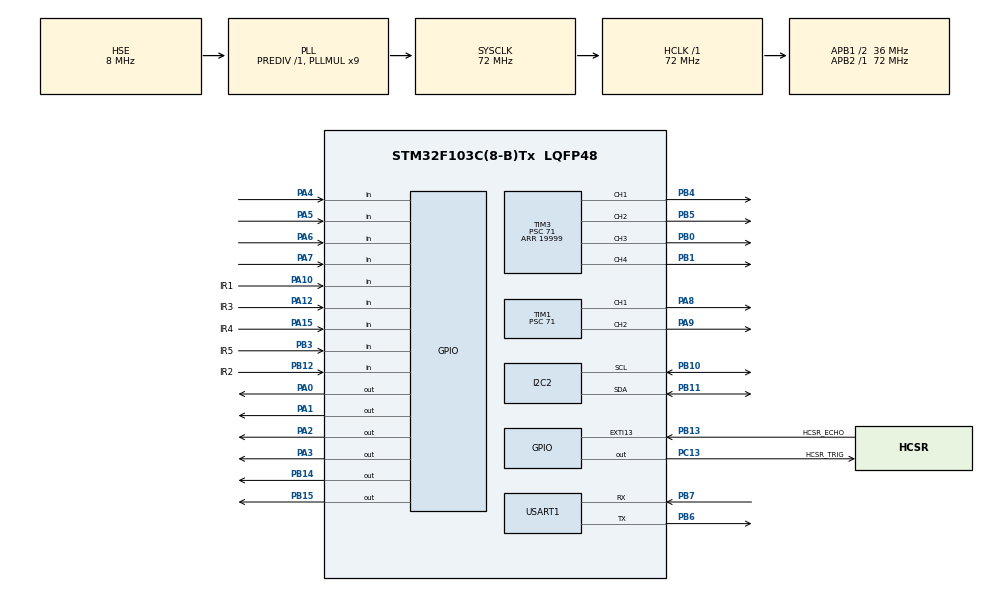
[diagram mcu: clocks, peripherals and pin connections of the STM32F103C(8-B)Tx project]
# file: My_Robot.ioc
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Mcu.Family=STM32F1
Mcu.Name=STM32F103C(8-B)Tx
Mcu.Package=LQFP48
NVIC.EXTI15_10_IRQn=true\:1\:0\:true\:false\:true\:true\:true
NVIC.PriorityGroup=NVIC_PRIORITYGROUP_4
NVIC.USART1_IRQn=true\:1\:0\:true\:false\:true\:true\:true
PA0-WKUP.GPIO_ModeDefaultOutputPP=GPIO_MODE_OUTPUT_PP
PA0-WKUP.GPIO_PuPd=GPIO_NOPULL
PA0-WKUP.GPIO_Speed=GPIO_SPEED_FREQ_HIGH
PA0-WKUP.PinState=GPIO_PIN_SET
PA0-WKUP.Signal=GPIO_Output
PA1.GPIO_Speed=GPIO_SPEED_FREQ_HIGH
PA1.PinState=GPIO_PIN_SET
PA1.Signal=GPIO_Output
PA10.GPIO_Label=IR1
PA10.Signal=GPIO_Input
PA12.GPIO_Label=IR3
PA12.Signal=GPIO_Input
PA13.Mode=Serial_Wire
PA13.Signal=SYS_JTMS-SWDIO
PA14.Mode=Serial_Wire
PA14.Signal=SYS_JTCK-SWCLK
PA15.GPIO_Label=IR4
PA15.Signal=GPIO_Input
PA2.GPIO_ModeDefaultOutputPP=GPIO_MODE_OUTPUT_PP
PA2.GPIO_PuPd=GPIO_NOPULL
PA2.GPIO_Speed=GPIO_SPEED_FREQ_HIGH
PA2.PinState=GPIO_PIN_SET
PA2.Signal=GPIO_Output
PA3.GPIO_ModeDefaultOutputPP=GPIO_MODE_OUTPUT_PP
PA3.GPIO_PuPd=GPIO_NOPULL
PA3.GPIO_Speed=GPIO_SPEED_FREQ_HIGH
PA3.PinState=GPIO_PIN_SET
PA3.Signal=GPIO_Output
PA4.GPIO_Mode=GPIO_MODE_INPUT
PA4.GPIO_PuPd=GPIO_PULLUP
PA4.Signal=GPIO_Input
PA5.GPIO_PuPd=GPIO_PULLUP
PA5.Signal=GPIO_Input
PA6.GPIO_Mode=GPIO_MODE_INPUT
PA6.GPIO_PuPd=GPIO_PULLUP
PA6.Signal=GPIO_Input
PA7.GPIO_Mode=GPIO_MODE_INPUT
PA7.GPIO_PuPd=GPIO_PULLUP
PA7.Signal=GPIO_Input
PA8.Signal=S_TIM1_CH1
PA9.Signal=S_TIM1_CH2
PB0.Signal=S_TIM3_CH3
PB1.Signal=S_TIM3_CH4
PB10.Mode=I2C
PB10.Signal=I2C2_SCL
PB11.Mode=I2C
PB11.Signal=I2C2_SDA
PB12.GPIO_Label=IR2
PB12.Signal=GPIO_Input
PB13.GPIO_Label=HCSR_ECHO
PB13.GPIO_ModeDefaultEXTI=GPIO_MODE_IT_RISING_FALLING
PB13.Signal=GPXTI13
PB14.Signal=GPIO_Output
PB15.Signal=GPIO_Output
PB3.GPIO_Label=IR5
PB3.Signal=GPIO_Input
PB4.Signal=S_TIM3_CH1
PB5.Signal=S_TIM3_CH2
PB6.Mode=Asynchronous
PB6.Signal=USART1_TX
PB7.Mode=Asynchronous
PB7.Signal=USART1_RX
PC13-TAMPER-RTC.GPIO_Label=HCSR_TRIG
PC13-TAMPER-RTC.Signal=GPIO_Output
PD0-OSC_IN.Mode=HSE-External-Oscillator
PD0-OSC_IN.Signal=RCC_OSC_IN
PD1-OSC_OUT.Mode=HSE-External-Oscillator
PD1-OSC_OUT.Signal=RCC_OSC_OUT
ProjectManager.HeapSize=0x200
ProjectManager.StackSize=0x400
ProjectManager.TargetToolchain=MDK-ARM V5.27
RCC.AHBFreq_Value=72000000
RCC.APB1CLKDivider=RCC_HCLK_DIV2
RCC.APB1Freq_Value=36000000
RCC.APB1TimFreq_Value=72000000
RCC.APB2Freq_Value=72000000
RCC.APB2TimFreq_Value=72000000
RCC.HCLKFreq_Value=72000000
RCC.PLLMUL=RCC_PLL_MUL9
RCC.PLLSourceVirtual=RCC_PLLSOURCE_HSE
RCC.SYSCLKFreq_VALUE=72000000
RCC.SYSCLKSource=RCC_SYSCLKSOURCE_PLLCLK
RCC.USBFreq_Value=72000000
SH.S_TIM1_CH1.0=TIM1_CH1,PWM Generation1 CH1
SH.S_TIM1_CH2.0=TIM1_CH2,PWM Generation2 CH2
SH.S_TIM3_CH1.0=TIM3_CH1,PWM Generation1 CH1
SH.S_TIM3_CH2.0=TIM3_CH2,PWM Generation2 CH2
SH.S_TIM3_CH3.0=TIM3_CH3,PWM Generation3 CH3
SH.S_TIM3_CH4.0=TIM3_CH4,PWM Generation4 CH4
TIM1.Channel-PWM\ Generation1\ CH1=TIM_CHANNEL_1
TIM1.Channel-PWM\ Generation2\ CH2=TIM_CHANNEL_2
TIM1.Period=999
TIM1.Prescaler=71
TIM2.Prescaler=71
TIM3.Channel-PWM\ Generation1\ CH1=TIM_CHANNEL_1
TIM3.Channel-PWM\ Generation2\ CH2=TIM_CHANNEL_2
TIM3.Channel-PWM\ Generation3\ CH3=TIM_CHANNEL_3
TIM3.Channel-PWM\ Generation4\ CH4=TIM_CHANNEL_4
TIM3.Period=19999
TIM3.Prescaler=71
USART1.VirtualMode=VM_ASYNC
VP_TIM1_VS_ClockSourceINT.Mode=Internal
VP_TIM2_VS_ClockSourceINT.Mode=Internal
VP_TIM3_VS_ClockSourceINT.Mode=Internal
board=custom

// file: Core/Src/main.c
/* USER CODE BEGIN Header */
/**
  ******************************************************************************
  * @file           : main.c
  * @brief          : Main program body
  ******************************************************************************
  * @attention
  *
  * <h2><center>&copy; Copyright (c) 2023 STMicroelectronics.
  * All rights reserved.</center></h2>
  *
  * This software component is licensed by ST under BSD 3-Clause license,
  * the "License"; You may not use this file except in compliance with the
  * License. You may obtain a copy of the License at:
  *                        opensource.org/licenses/BSD-3-Clause
  *
  ******************************************************************************
  */
/* USER CODE END Header */
#include "main.h"

/* USER CODE BEGIN Includes */
#include <string.h>
#include "keypad.h"
#include "LiquidCrystal_I2C.h"
#include "hcsr04.h"
#include "uart.h"
#include "car_driver.h"
#include "car_remote.h"
#include "ir_sensor.h"
#include "arm_driver.h"
/* USER CODE END Includes */

I2C_HandleTypeDef hi2c2;

TIM_HandleTypeDef htim1;
TIM_HandleTypeDef htim2;
TIM_HandleTypeDef htim3;

UART_HandleTypeDef huart1;

/* USER CODE BEGIN PV */
LiquidCrystal_I2C hlcd1;
/* USER CODE END PV */

void SystemClock_Config(void);
static void MX_GPIO_Init(void);
static void MX_I2C2_Init(void);
static void MX_USART1_UART_Init(void);
static void MX_TIM1_Init(void);
static void MX_TIM2_Init(void);
static void MX_TIM3_Init(void);

/* USER CODE BEGIN 0 */

/*------------------- DECLARE STRUCTURES AND STATE MACHINE -------------------*/
typedef enum
{
	LOCK_STATE,
	ENTER_PASS_STATE,
	NORMAL_STATE,
	LOCK_30S_STATE
}KeypadState;

typedef enum
{
	STOP_STATE,
	REMOTE_STATE,
	AUTO_STATE
}RobotState;

typedef enum
{
	AUTO_STOP_STATE,
	CAR_FOLLOW_LINE_STATE,
	ARM_LEARN_CMD_STATE,
	ARM_AUTO_STATE
}RobotAutoState;

typedef struct
{
	uint8_t buff[8];
	uint8_t index;
}Password_Typedef;

/* create state object and instruments */
RobotState robot_state;							// Robot state
RobotAutoState auto_state;						// Auto robot state
Arm_Robot_Typedef arm_robot;						// declare ARM Robot

Password_Typedef password;
HCSR04_TypeDef my_hcsr04;
KeypadState keypad_state = LOCK_STATE;

/*------------ GLOBAL VARIABLES -------------*/
/*  declare for handle keypad and password   */
uint8_t default_pass[8] = "1";//2345678";
uint8_t count_err = 3;
uint16_t time_lock_start;
uint8_t keypad_flag = 0;

/*       declare variables for HCSR04        */
uint32_t hcsr04_time;			// variable to start hcsr04

/*       declare variables for uart1         */
uint8_t rx_data;

/* ____ declare variables for ir sensor ____ */

/*--------------------------- HANDLE INPUT PASSWORD --------------------------*/
void KeypadPressingCallback(uint8_t key)
{
	switch(keypad_state)
	{
		case NORMAL_STATE:
		{
			if(key == 'A')
			{
				robot_state = AUTO_STATE;
				lcd_clear_display(&hlcd1);
				lcd_printf(&hlcd1, "AUTO_STATE");
				lcd_set_cursor_off(&hlcd1);
				lcd_set_cursor_blink_off(&hlcd1);
			}
			else if(key == 'B')
			{
				robot_state = REMOTE_STATE;
				lcd_clear_display(&hlcd1);
				lcd_printf(&hlcd1, "REMOTE_STATE");
				lcd_set_cursor_off(&hlcd1);
				lcd_set_cursor_blink_off(&hlcd1);
				HAL_UART_Receive_IT(&huart1, &rx_data, 1);
			}
			break;
		}
		case LOCK_STATE:
			break;
		case ENTER_PASS_STATE:
		{
			if(key >= '0' && key <= '9')
			{
				if(password.index < 8)
				{
					password.buff[password.index++] = key;
					lcd_putchar(&hlcd1, key);
				}
			}
			else if(key == 'A')
			{
				password.index++;
				lcd_set_cursor(&hlcd1, 1, password.index);
			}
			else if(key == 'B')
			{
				password.index--;
				lcd_set_cursor(&hlcd1, 1, password.index);
			}
			else if(key == 'C')
			{
				lcd_clear_display(&hlcd1);
				lcd_printf(&hlcd1, "Enter password");
				lcd_set_cursor(&hlcd1, 1, 0);
				password.index = 0;
			}
			else if(key == 'D')
			{
				/* Check password */
				//if(strncmp((char *)default_pass, (char *)password.buff, 8) == 0)
				if(strncmp((char *)default_pass, (char *)password.buff, 1) == 0)
				{
					/* Password is true */
					keypad_state = NORMAL_STATE;
					lcd_clear_display(&hlcd1);
					lcd_printf(&hlcd1, "Press A to Auto");
					lcd_set_cursor(&hlcd1, 1, 0);
					lcd_printf(&hlcd1, "B to Remote: ");
				}
				else
				{
					/* Password is fail */
					password.index = 0;
					count_err--;
					lcd_clear_display(&hlcd1);
					lcd_printf(&hlcd1, "Enter password:%d", count_err);
					lcd_set_cursor(&hlcd1, 1, 0);
					if(count_err == 0)
					{
						keypad_state = LOCK_30S_STATE;
						time_lock_start = HAL_GetTick();
						keypad_flag = 1;
						lcd_set_cursor_off(&hlcd1);
						lcd_set_cursor_blink_off(&hlcd1);
					}
				}
			}
			break;
		}
		case LOCK_30S_STATE:
			break;
	}
}

void KeypadPressingTimeoutCallback(uint8_t key)
{
	if(key == 'D')
	{
		password.index = 0;
		lcd_clear_display(&hlcd1);
		lcd_printf(&hlcd1, "Enter password:%d", count_err);
		lcd_set_cursor(&hlcd1, 1, 0);
		lcd_set_cursor_on(&hlcd1);
		lcd_set_cursor_blink_on(&hlcd1);
		keypad_state = ENTER_PASS_STATE;
	}
}

void Keypad_State_Handle(void)
{
	switch(keypad_state)
	{
		case LOCK_STATE:
		{
			if(keypad_flag)
			{
				keypad_flag = 0;
				lcd_clear_display(&hlcd1);
				lcd_printf(&hlcd1, "Long press D");
				lcd_set_cursor(&hlcd1, 1, 0);
				lcd_printf(&hlcd1, "to enter pass");
			}
			break;
		}
		case LOCK_30S_STATE:
		{
			uint16_t milis_lock;
			milis_lock = HAL_GetTick() - time_lock_start;
			if((HAL_GetTick() - time_lock_start)%1000 == 0)
			{
				lcd_clear_display(&hlcd1);
				lcd_printf(&hlcd1, "Lock %ds",(30 - milis_lock/1000));
			}
			if((HAL_GetTick() - time_lock_start) >= 30000)
			{
				keypad_state = LOCK_STATE;
				count_err = 3;
			}
			break;
		}
		case ENTER_PASS_STATE:
			break;
		case NORMAL_STATE:
		{
			if (HAL_GetTick() - hcsr04_time >= 100)
			{
				HCSR04_Start(&my_hcsr04);
				hcsr04_time = HAL_GetTick();
			}
			switch(robot_state)
			{
				case STOP_STATE:
					break;
				case REMOTE_STATE:
				{
					Uart_Handle();
					car_remote_handle();
					break;
				}
				case AUTO_STATE:
				{
					car_following_line_handle();
					break;
				}
				default:
					break;
			}

			break;
		}
	}
}

/*---------------------------- UART HANDLE -----------------------------*/

void HAL_UART_RxCpltCallback(UART_HandleTypeDef *huart)
{
	if(huart->Instance == huart1.Instance)
	{
		Uart_Receive_Data(rx_data);
		if (robot_state == REMOTE_STATE)
		{
			HAL_UART_Receive_IT(&huart1, &rx_data, 1);
		}
	}
}

/*--------------------------- HCSR-04 HANDLE ---------------------------*/
void HAL_GPIO_EXTI_Callback(uint16_t GPIO_Pin)
{
	if(GPIO_Pin == GPIO_PIN_13)
	{
		EXTI_HCSR04_Callback(&my_hcsr04);
	}
}

void HCSR04_Complete_Callback(HCSR04_TypeDef *hcsr04)
{
	if (&my_hcsr04 == hcsr04)
	{
		if (my_hcsr04.hcsr04_distan < 20)
		{
			lcd_clear_display(&hlcd1);
			lcd_printf(&hlcd1, "  DISTANCE");
			lcd_set_cursor(&hlcd1, 1, 0);
			lcd_printf(&hlcd1, "%.3f", my_hcsr04.hcsr04_distan);
		}
	}
}

/* debug variables */

/* USER CODE END 0 */

int main(void)
{

  /* MCU Configuration--------------------------------------------------------*/

  /* Reset of all peripherals, Initializes the Flash interface and the Systick. */
  HAL_Init();

  /* Configure the system clock */
  SystemClock_Config();

  /* Initialize all configured peripherals */
  MX_GPIO_Init();
  MX_I2C2_Init();
  MX_USART1_UART_Init();
  MX_TIM1_Init();
  MX_TIM2_Init();
  MX_TIM3_Init();
  /* USER CODE BEGIN 2 */
	lcd_init(&hlcd1, &hi2c2, LCD_ADDR_DEFAULT);
	lcd_set_cursor(&hlcd1, 0, 0);
	lcd_printf(&hlcd1, "Long press D");
	lcd_set_cursor(&hlcd1, 1, 0);
	lcd_printf(&hlcd1, "to enter pass");
	HCSR04_Init(&my_hcsr04, &htim2, GPIOC, GPIO_PIN_13, GPIOB, GPIO_PIN_13);
	Car_Init(&htim1, TIM_CHANNEL_1, TIM_CHANNEL_2, GPIOB, GPIO_PIN_14, GPIOB, GPIO_PIN_15);
	Arm_Robot_Init(&arm_robot, &htim3);

  /* USER CODE END 2 */

  /* Infinite loop */
  /* USER CODE BEGIN WHILE */
  while (1)
  {
	HCSR04_Handle(&my_hcsr04);
	Keypad_Handle();
	Keypad_State_Handle();

    /* USER CODE END WHILE */

  }
}

void SystemClock_Config(void)
{
  RCC_OscInitTypeDef RCC_OscInitStruct = {0};
  RCC_ClkInitTypeDef RCC_ClkInitStruct = {0};

  /** Initializes the RCC Oscillators according to the specified parameters
  * in the RCC_OscInitTypeDef structure.
  */
  RCC_OscInitStruct.OscillatorType = RCC_OSCILLATORTYPE_HSE;
  RCC_OscInitStruct.HSEState = RCC_HSE_ON;
  RCC_OscInitStruct.HSEPredivValue = RCC_HSE_PREDIV_DIV1;
  RCC_OscInitStruct.HSIState = RCC_HSI_ON;
  RCC_OscInitStruct.PLL.PLLState = RCC_PLL_ON;
  RCC_OscInitStruct.PLL.PLLSource = RCC_PLLSOURCE_HSE;
  RCC_OscInitStruct.PLL.PLLMUL = RCC_PLL_MUL9;
  if (HAL_RCC_OscConfig(&RCC_OscInitStruct) != HAL_OK)
  {
    Error_Handler();
  }
  /** Initializes the CPU, AHB and APB buses clocks
  */
  RCC_ClkInitStruct.ClockType = RCC_CLOCKTYPE_HCLK|RCC_CLOCKTYPE_SYSCLK
                              |RCC_CLOCKTYPE_PCLK1|RCC_CLOCKTYPE_PCLK2;
  RCC_ClkInitStruct.SYSCLKSource = RCC_SYSCLKSOURCE_PLLCLK;
  RCC_ClkInitStruct.AHBCLKDivider = RCC_SYSCLK_DIV1;
  RCC_ClkInitStruct.APB1CLKDivider = RCC_HCLK_DIV2;
  RCC_ClkInitStruct.APB2CLKDivider = RCC_HCLK_DIV1;

  if (HAL_RCC_ClockConfig(&RCC_ClkInitStruct, FLASH_LATENCY_2) != HAL_OK)
  {
    Error_Handler();
  }
}

static void MX_I2C2_Init(void)
{

  hi2c2.Instance = I2C2;
  hi2c2.Init.ClockSpeed = 100000;
  hi2c2.Init.DutyCycle = I2C_DUTYCYCLE_2;
  hi2c2.Init.OwnAddress1 = 0;
  hi2c2.Init.AddressingMode = I2C_ADDRESSINGMODE_7BIT;
  hi2c2.Init.DualAddressMode = I2C_DUALADDRESS_DISABLE;
  hi2c2.Init.OwnAddress2 = 0;
  hi2c2.Init.GeneralCallMode = I2C_GENERALCALL_DISABLE;
  hi2c2.Init.NoStretchMode = I2C_NOSTRETCH_DISABLE;
  if (HAL_I2C_Init(&hi2c2) != HAL_OK)
  {
    Error_Handler();
  }

}

static void MX_TIM1_Init(void)
{

  TIM_ClockConfigTypeDef sClockSourceConfig = {0};
  TIM_MasterConfigTypeDef sMasterConfig = {0};
  TIM_OC_InitTypeDef sConfigOC = {0};
  TIM_BreakDeadTimeConfigTypeDef sBreakDeadTimeConfig = {0};

  htim1.Instance = TIM1;
  htim1.Init.Prescaler = 71;
  htim1.Init.CounterMode = TIM_COUNTERMODE_UP;
  htim1.Init.Period = 999;
  htim1.Init.ClockDivision = TIM_CLOCKDIVISION_DIV1;
  htim1.Init.RepetitionCounter = 0;
  htim1.Init.AutoReloadPreload = TIM_AUTORELOAD_PRELOAD_DISABLE;
  if (HAL_TIM_Base_Init(&htim1) != HAL_OK)
  {
    Error_Handler();
  }
  sClockSourceConfig.ClockSource = TIM_CLOCKSOURCE_INTERNAL;
  if (HAL_TIM_ConfigClockSource(&htim1, &sClockSourceConfig) != HAL_OK)
  {
    Error_Handler();
  }
  if (HAL_TIM_PWM_Init(&htim1) != HAL_OK)
  {
    Error_Handler();
  }
  sMasterConfig.MasterOutputTrigger = TIM_TRGO_RESET;
  sMasterConfig.MasterSlaveMode = TIM_MASTERSLAVEMODE_DISABLE;
  if (HAL_TIMEx_MasterConfigSynchronization(&htim1, &sMasterConfig) != HAL_OK)
  {
    Error_Handler();
  }
  sConfigOC.OCMode = TIM_OCMODE_PWM1;
  sConfigOC.Pulse = 0;
  sConfigOC.OCPolarity = TIM_OCPOLARITY_HIGH;
  sConfigOC.OCNPolarity = TIM_OCNPOLARITY_HIGH;
  sConfigOC.OCFastMode = TIM_OCFAST_DISABLE;
  sConfigOC.OCIdleState = TIM_OCIDLESTATE_RESET;
  sConfigOC.OCNIdleState = TIM_OCNIDLESTATE_RESET;
  if (HAL_TIM_PWM_ConfigChannel(&htim1, &sConfigOC, TIM_CHANNEL_1) != HAL_OK)
  {
    Error_Handler();
  }
  if (HAL_TIM_PWM_ConfigChannel(&htim1, &sConfigOC, TIM_CHANNEL_2) != HAL_OK)
  {
    Error_Handler();
  }
  sBreakDeadTimeConfig.OffStateRunMode = TIM_OSSR_DISABLE;
  sBreakDeadTimeConfig.OffStateIDLEMode = TIM_OSSI_DISABLE;
  sBreakDeadTimeConfig.LockLevel = TIM_LOCKLEVEL_OFF;
  sBreakDeadTimeConfig.DeadTime = 0;
  sBreakDeadTimeConfig.BreakState = TIM_BREAK_DISABLE;
  sBreakDeadTimeConfig.BreakPolarity = TIM_BREAKPOLARITY_HIGH;
  sBreakDeadTimeConfig.AutomaticOutput = TIM_AUTOMATICOUTPUT_DISABLE;
  if (HAL_TIMEx_ConfigBreakDeadTime(&htim1, &sBreakDeadTimeConfig) != HAL_OK)
  {
    Error_Handler();
  }
  HAL_TIM_MspPostInit(&htim1);

}

static void MX_TIM2_Init(void)
{

  TIM_ClockConfigTypeDef sClockSourceConfig = {0};
  TIM_MasterConfigTypeDef sMasterConfig = {0};

  htim2.Instance = TIM2;
  htim2.Init.Prescaler = 71;
  htim2.Init.CounterMode = TIM_COUNTERMODE_UP;
  htim2.Init.Period = 65535;
  htim2.Init.ClockDivision = TIM_CLOCKDIVISION_DIV1;
  htim2.Init.AutoReloadPreload = TIM_AUTORELOAD_PRELOAD_DISABLE;
  if (HAL_TIM_Base_Init(&htim2) != HAL_OK)
  {
    Error_Handler();
  }
  sClockSourceConfig.ClockSource = TIM_CLOCKSOURCE_INTERNAL;
  if (HAL_TIM_ConfigClockSource(&htim2, &sClockSourceConfig) != HAL_OK)
  {
    Error_Handler();
  }
  sMasterConfig.MasterOutputTrigger = TIM_TRGO_RESET;
  sMasterConfig.MasterSlaveMode = TIM_MASTERSLAVEMODE_DISABLE;
  if (HAL_TIMEx_MasterConfigSynchronization(&htim2, &sMasterConfig) != HAL_OK)
  {
    Error_Handler();
  }

}

static void MX_TIM3_Init(void)
{

  TIM_ClockConfigTypeDef sClockSourceConfig = {0};
  TIM_MasterConfigTypeDef sMasterConfig = {0};
  TIM_OC_InitTypeDef sConfigOC = {0};

  htim3.Instance = TIM3;
  htim3.Init.Prescaler = 71;
  htim3.Init.CounterMode = TIM_COUNTERMODE_UP;
  htim3.Init.Period = 19999;
  htim3.Init.ClockDivision = TIM_CLOCKDIVISION_DIV1;
  htim3.Init.AutoReloadPreload = TIM_AUTORELOAD_PRELOAD_DISABLE;
  if (HAL_TIM_Base_Init(&htim3) != HAL_OK)
  {
    Error_Handler();
  }
  sClockSourceConfig.ClockSource = TIM_CLOCKSOURCE_INTERNAL;
  if (HAL_TIM_ConfigClockSource(&htim3, &sClockSourceConfig) != HAL_OK)
  {
    Error_Handler();
  }
  if (HAL_TIM_PWM_Init(&htim3) != HAL_OK)
  {
    Error_Handler();
  }
  sMasterConfig.MasterOutputTrigger = TIM_TRGO_RESET;
  sMasterConfig.MasterSlaveMode = TIM_MASTERSLAVEMODE_DISABLE;
  if (HAL_TIMEx_MasterConfigSynchronization(&htim3, &sMasterConfig) != HAL_OK)
  {
    Error_Handler();
  }
  sConfigOC.OCMode = TIM_OCMODE_PWM1;
  sConfigOC.Pulse = 0;
  sConfigOC.OCPolarity = TIM_OCPOLARITY_HIGH;
  sConfigOC.OCFastMode = TIM_OCFAST_DISABLE;
  if (HAL_TIM_PWM_ConfigChannel(&htim3, &sConfigOC, TIM_CHANNEL_1) != HAL_OK)
  {
    Error_Handler();
  }
  if (HAL_TIM_PWM_ConfigChannel(&htim3, &sConfigOC, TIM_CHANNEL_2) != HAL_OK)
  {
    Error_Handler();
  }
  if (HAL_TIM_PWM_ConfigChannel(&htim3, &sConfigOC, TIM_CHANNEL_3) != HAL_OK)
  {
    Error_Handler();
  }
  if (HAL_TIM_PWM_ConfigChannel(&htim3, &sConfigOC, TIM_CHANNEL_4) != HAL_OK)
  {
    Error_Handler();
  }
  HAL_TIM_MspPostInit(&htim3);

}

static void MX_USART1_UART_Init(void)
{

  huart1.Instance = USART1;
  huart1.Init.BaudRate = 115200;
  huart1.Init.WordLength = UART_WORDLENGTH_8B;
  huart1.Init.StopBits = UART_STOPBITS_1;
  huart1.Init.Parity = UART_PARITY_NONE;
  huart1.Init.Mode = UART_MODE_TX_RX;
  huart1.Init.HwFlowCtl = UART_HWCONTROL_NONE;
  huart1.Init.OverSampling = UART_OVERSAMPLING_16;
  if (HAL_UART_Init(&huart1) != HAL_OK)
  {
    Error_Handler();
  }

}

static void MX_GPIO_Init(void)
{
  GPIO_InitTypeDef GPIO_InitStruct = {0};

  /* GPIO Ports Clock Enable */
  __HAL_RCC_GPIOC_CLK_ENABLE();
  __HAL_RCC_GPIOD_CLK_ENABLE();
  __HAL_RCC_GPIOA_CLK_ENABLE();
  __HAL_RCC_GPIOB_CLK_ENABLE();

  /*Configure GPIO pin Output Level */
  HAL_GPIO_WritePin(HCSR_TRIG_GPIO_Port, HCSR_TRIG_Pin, GPIO_PIN_RESET);

  /*Configure GPIO pin Output Level */
  HAL_GPIO_WritePin(GPIOA, GPIO_PIN_0|GPIO_PIN_1|GPIO_PIN_2|GPIO_PIN_3, GPIO_PIN_SET);

  /*Configure GPIO pin Output Level */
  HAL_GPIO_WritePin(GPIOB, GPIO_PIN_14|GPIO_PIN_15, GPIO_PIN_RESET);

  /*Configure GPIO pin : HCSR_TRIG_Pin */
  GPIO_InitStruct.Pin = HCSR_TRIG_Pin;
  GPIO_InitStruct.Mode = GPIO_MODE_OUTPUT_PP;
  GPIO_InitStruct.Pull = GPIO_NOPULL;
  GPIO_InitStruct.Speed = GPIO_SPEED_FREQ_LOW;
  HAL_GPIO_Init(HCSR_TRIG_GPIO_Port, &GPIO_InitStruct);

  /*Configure GPIO pins : PA0 PA1 PA2 PA3 */
  GPIO_InitStruct.Pin = GPIO_PIN_0|GPIO_PIN_1|GPIO_PIN_2|GPIO_PIN_3;
  GPIO_InitStruct.Mode = GPIO_MODE_OUTPUT_PP;
  GPIO_InitStruct.Pull = GPIO_NOPULL;
  GPIO_InitStruct.Speed = GPIO_SPEED_FREQ_HIGH;
  HAL_GPIO_Init(GPIOA, &GPIO_InitStruct);

  /*Configure GPIO pins : PA4 PA5 PA6 PA7 */
  GPIO_InitStruct.Pin = GPIO_PIN_4|GPIO_PIN_5|GPIO_PIN_6|GPIO_PIN_7;
  GPIO_InitStruct.Mode = GPIO_MODE_INPUT;
  GPIO_InitStruct.Pull = GPIO_PULLUP;
  HAL_GPIO_Init(GPIOA, &GPIO_InitStruct);

  /*Configure GPIO pins : IR2_Pin IR5_Pin */
  GPIO_InitStruct.Pin = IR2_Pin|IR5_Pin;
  GPIO_InitStruct.Mode = GPIO_MODE_INPUT;
  GPIO_InitStruct.Pull = GPIO_NOPULL;
  HAL_GPIO_Init(GPIOB, &GPIO_InitStruct);

  /*Configure GPIO pin : HCSR_ECHO_Pin */
  GPIO_InitStruct.Pin = HCSR_ECHO_Pin;
  GPIO_InitStruct.Mode = GPIO_MODE_IT_RISING_FALLING;
  GPIO_InitStruct.Pull = GPIO_NOPULL;
  HAL_GPIO_Init(HCSR_ECHO_GPIO_Port, &GPIO_InitStruct);

  /*Configure GPIO pins : PB14 PB15 */
  GPIO_InitStruct.Pin = GPIO_PIN_14|GPIO_PIN_15;
  GPIO_InitStruct.Mode = GPIO_MODE_OUTPUT_PP;
  GPIO_InitStruct.Pull = GPIO_NOPULL;
  GPIO_InitStruct.Speed = GPIO_SPEED_FREQ_LOW;
  HAL_GPIO_Init(GPIOB, &GPIO_InitStruct);

  /*Configure GPIO pins : IR1_Pin IR3_Pin IR4_Pin */
  GPIO_InitStruct.Pin = IR1_Pin|IR3_Pin|IR4_Pin;
  GPIO_InitStruct.Mode = GPIO_MODE_INPUT;
  GPIO_InitStruct.Pull = GPIO_NOPULL;
  HAL_GPIO_Init(GPIOA, &GPIO_InitStruct);

  /* EXTI interrupt init*/
  HAL_NVIC_SetPriority(EXTI15_10_IRQn, 1, 0);
  HAL_NVIC_EnableIRQ(EXTI15_10_IRQn);

}

void Error_Handler(void)
{
}

/************************ (C) COPYRIGHT STMicroelectronics *****END OF FILE****/
